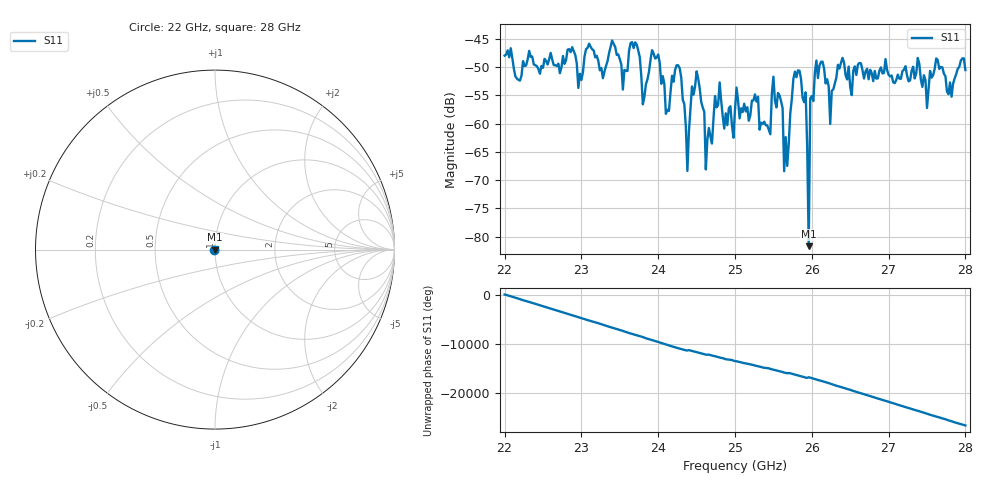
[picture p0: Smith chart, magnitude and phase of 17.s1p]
#  HZ  S  RI  R  50.00
! Rohde & Schwarz ZVA40 4Ports - Version 3.90 - 1145.1110k42 SN: 100403
! Date: 2023-10-04 07:14:48
! Measurement: S12
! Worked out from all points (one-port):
!   301 points, 22 GHz to 28 GHz, reference 50 ohm
!   lowest |S11| = -81.7 dB at 25.96 GHz (marker M1), VSWR 1.00, Z = 50 - j0.00547 ohm
!   |S11| at or under -10 dB: start of sweep to end of sweep
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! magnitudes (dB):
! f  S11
! 22 GHz  -48.0
! 22.76 GHz  -48.1
! 23.5 GHz  -48.6
! 23.72 GHz  -46.0
! 23.8 GHz  -56.6
! 24 GHz  -47.8
! 24.1 GHz  -58.3
! 24.26 GHz  -49.7
! 24.38 GHz  -68.4
! 24.5 GHz  -50.8
! 24.6 GHz  -57.9
! 24.62 GHz  -68.1
! 24.8 GHz  -52.7
! 25 GHz  -57.5
! 25.46 GHz  -61.9
! 25.5 GHz  -51.7
! 25.62 GHz  -57.3
! 25.64 GHz  -68.4
! 25.76 GHz  -52.1
! 25.92 GHz  -54.5
! 25.96 GHz  -81.7
! 25.98 GHz  -55.5
! 26.06 GHz  -48.9
! 26.24 GHz  -60.1
! 26.34 GHz  -49.6
! 26.5 GHz  -53.5
! 27.26 GHz  -52.5
! 28 GHz  -50.5
